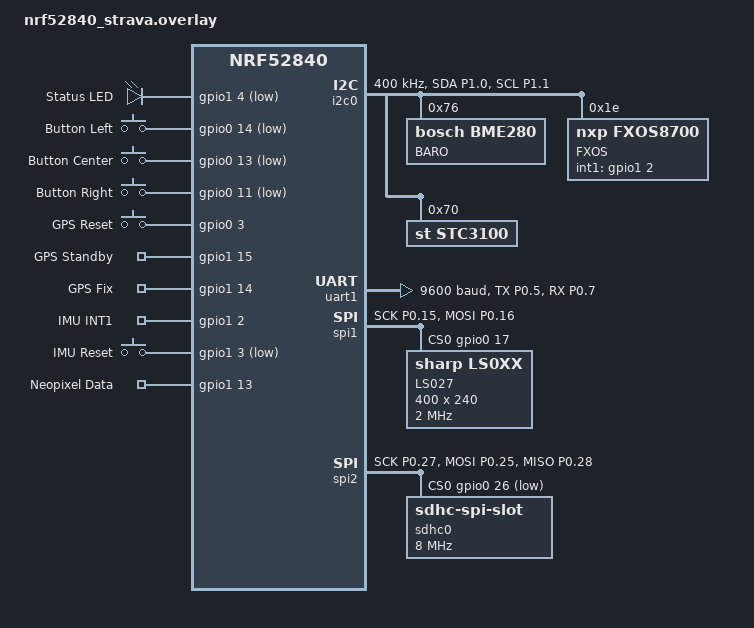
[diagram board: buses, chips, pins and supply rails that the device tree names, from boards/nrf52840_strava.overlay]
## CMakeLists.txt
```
# SPDX-License-Identifier: Apache-2.0
# stravaV10 - Zephyr Application
# Bike GPS Computer with Strava Segments

cmake_minimum_required(VERSION 3.20.0)

# Board configuration
set(BOARD nrf52840dk/nrf52840)
set(BOARD_ROOT ${CMAKE_CURRENT_SOURCE_DIR})
set(DTC_OVERLAY_FILE ${CMAKE_CURRENT_SOURCE_DIR}/boards/nrf52840_strava.overlay)

find_package(Zephyr REQUIRED HINTS $ENV{ZEPHYR_BASE})

project(stravaV10 VERSION 2.0.0 LANGUAGES C)

# Compile options following MISRA and 0.memory standards
target_compile_options(app PRIVATE
    -Wall
    -Wextra
    -Werror=implicit-function-declaration
    -Werror=return-type
    -Wno-unused-parameter
    -ffunction-sections
    -fdata-sections
)

# Include directories
target_include_directories(app PRIVATE
    ${CMAKE_CURRENT_SOURCE_DIR}/include
    ${CMAKE_CURRENT_SOURCE_DIR}/include/hal
    ${CMAKE_CURRENT_SOURCE_DIR}/include/drivers
    ${CMAKE_CURRENT_SOURCE_DIR}/include/model
    ${CMAKE_CURRENT_SOURCE_DIR}/include/rf
    ${CMAKE_CURRENT_SOURCE_DIR}/include/vue
    ${CMAKE_CURRENT_SOURCE_DIR}/include/utils
    ${CMAKE_CURRENT_SOURCE_DIR}/include/usb
)

# =============================================================================
# Source files organized by module
# =============================================================================

# Main entry point
target_sources(app PRIVATE
    src/main.c
)

# HAL Layer - Hardware Abstraction
target_sources(app PRIVATE
    src/hal/hal_gpio.c
    src/hal/hal_spi.c
    src/hal/hal_i2c.c
    src/hal/hal_uart.c
)

# Drivers - LCD
target_sources(app PRIVATE
    src/drivers/lcd/ls027.c
)

# Drivers - Sensors
target_sources(app PRIVATE
    src/drivers/sensors/baro.c
    src/drivers/sensors/fxos.c
    src/drivers/sensors/stc3100.c
)

# Drivers - GPS
target_sources(app PRIVATE
    src/drivers/gps/gps_mgmt.c
    src/drivers/gps/nmea_parser.c
    src/drivers/gps/gps_epo.c
)

# Drivers - NeoPixel
target_sources(app PRIVATE
    src/drivers/neopixel.c
)

# Model Layer - Business Logic
target_sources(app PRIVATE
    src/model/boucle.c
    src/model/attitude.c
    src/model/locator.c
    src/model/segment.c
    src/model/kalman.c
    src/model/kalman_altitude.c
    src/model/udmatrix.c
    src/model/vecteur.c
    src/model/liste_points.c
    src/model/power_zone.c
    src/model/suffer_score.c
    src/model/rr_zone.c
    src/model/user_settings.c
    src/model/crash_recovery.c
    src/model/parcours.c
    src/model/baro_drift.c
    src/model/loc_source.c
    src/model/sd_logger.c
    src/model/zwift.c
)

# RF Layer - Wireless Communication
target_sources(app PRIVATE
    src/rf/ble/ble_manager.c
    src/rf/ble/ble_nus.c
    src/rf/ble/ble_lns.c
    src/rf/ble_hrs_client.c
    src/rf/ble_bsc_client.c
    src/rf/ble_fec_client.c
    src/rf/ble_komoot_client.c
)

# Vue Layer - User Interface
target_sources(app PRIVATE
    src/vue/vue.c
    src/vue/vue_crs.c
    src/vue/vue_fec.c
    src/vue/menu.c
)

# Utils
target_sources(app PRIVATE
    src/utils/utils.c
    src/utils/ring_buffer.c
)

# USB
target_sources(app PRIVATE
    src/usb/usb_cdc.c
    src/usb/usb_msc.c
)
```

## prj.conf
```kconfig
# =============================================================================
# stravaV10 - Zephyr Project Configuration
# Bike GPS Computer with Strava Segments
# =============================================================================

# -----------------------------------------------------------------------------
# General Configuration
# -----------------------------------------------------------------------------
CONFIG_MAIN_STACK_SIZE=2048
CONFIG_SYSTEM_WORKQUEUE_STACK_SIZE=1024
CONFIG_HEAP_MEM_POOL_SIZE=16384
CONFIG_PICOLIBC=y
CONFIG_PICOLIBC_USE_MODULE=n
CONFIG_CBPRINTF_FP_SUPPORT=y
CONFIG_FPU=y

# -----------------------------------------------------------------------------
# Logging
# -----------------------------------------------------------------------------
CONFIG_LOG=y
CONFIG_LOG_MODE_DEFERRED=y
CONFIG_LOG_BUFFER_SIZE=2048
CONFIG_LOG_BACKEND_RTT=y
CONFIG_LOG_BACKEND_RTT_MODE_DROP=y
CONFIG_USE_SEGGER_RTT=y
CONFIG_SEGGER_RTT_BUFFER_SIZE_UP=1024

# -----------------------------------------------------------------------------
# GPIO
# -----------------------------------------------------------------------------
CONFIG_GPIO=y

# -----------------------------------------------------------------------------
# SPI - LCD LS027 and SD Card
# -----------------------------------------------------------------------------
CONFIG_SPI=y
CONFIG_SPI_NRFX=y

# -----------------------------------------------------------------------------
# I2C - Sensors (Barometer, Accelerometer, Fuel Gauge)
# -----------------------------------------------------------------------------
CONFIG_I2C=y
CONFIG_I2C_NRFX=y

# -----------------------------------------------------------------------------
# UART - GPS Module
# -----------------------------------------------------------------------------
CONFIG_SERIAL=y
CONFIG_UART_NRFX=y
CONFIG_UART_INTERRUPT_DRIVEN=y
CONFIG_UART_ASYNC_API=y

# -----------------------------------------------------------------------------
# Bluetooth Low Energy
# -----------------------------------------------------------------------------
CONFIG_BT=y
CONFIG_BT_PERIPHERAL=y
CONFIG_BT_CENTRAL=y
CONFIG_BT_DEVICE_NAME="stravaV10"
CONFIG_BT_DEVICE_APPEARANCE=1157
CONFIG_BT_MAX_CONN=4
CONFIG_BT_MAX_PAIRED=4

# BT Services
CONFIG_BT_NUS=n
CONFIG_BT_LBS=n
CONFIG_BT_DIS=y
CONFIG_BT_BAS=y

# BT GATT Client (for HRS, BSC, FEC sensors)
CONFIG_BT_GATT_CLIENT=y
CONFIG_BT_GATT_AUTO_DISCOVER_CCC=y

# BT Settings
CONFIG_BT_SETTINGS=y
CONFIG_FLASH=y
CONFIG_FLASH_PAGE_LAYOUT=y
CONFIG_FLASH_MAP=y
CONFIG_NVS=y
CONFIG_SETTINGS=y
CONFIG_SETTINGS_NVS=y

# -----------------------------------------------------------------------------
# Display
# -----------------------------------------------------------------------------
CONFIG_DISPLAY=y

# -----------------------------------------------------------------------------
# File System - SD Card
# -----------------------------------------------------------------------------
CONFIG_FILE_SYSTEM=y
CONFIG_FAT_FILESYSTEM_ELM=y
CONFIG_FS_FATFS_LFN=y
CONFIG_FS_FATFS_LFN_MODE_HEAP=y

# SD Card via SPI
CONFIG_DISK_ACCESS=y
CONFIG_DISK_DRIVER_SDMMC=y

# -----------------------------------------------------------------------------
# Threads and Synchronization
# -----------------------------------------------------------------------------
CONFIG_MULTITHREADING=y
CONFIG_NUM_PREEMPT_PRIORITIES=16
CONFIG_TIMESLICING=y
CONFIG_TIMESLICE_SIZE=10

# Thread Analyzer (debug)
CONFIG_THREAD_ANALYZER=n
CONFIG_THREAD_NAME=y

# -----------------------------------------------------------------------------
# Timers and Counters
# -----------------------------------------------------------------------------
CONFIG_COUNTER=y

# -----------------------------------------------------------------------------
# Watchdog
# -----------------------------------------------------------------------------
CONFIG_WATCHDOG=y
CONFIG_WDT_NRFX=y

# -----------------------------------------------------------------------------
# Power Management
# -----------------------------------------------------------------------------
CONFIG_PM=y
CONFIG_PM_DEVICE=y

# -----------------------------------------------------------------------------
# USB Device Stack - CDC ACM (Serial over USB)
# -----------------------------------------------------------------------------
CONFIG_USB_DEVICE_STACK=y
CONFIG_USB_DEVICE_PRODUCT="stravaV10"
CONFIG_USB_DEVICE_MANUFACTURER="Custom"
CONFIG_USB_DEVICE_VID=0x2FE3
CONFIG_USB_DEVICE_PID=0x0100
CONFIG_USB_DEVICE_INITIALIZE_AT_BOOT=n
CONFIG_USB_CDC_ACM=y
CONFIG_USB_CDC_ACM_RINGBUF_SIZE=1024
CONFIG_UART_LINE_CTRL=y
CONFIG_UART_INTERRUPT_DRIVEN=y

# -----------------------------------------------------------------------------
# Sensors Subsystem
# -----------------------------------------------------------------------------
CONFIG_SENSOR=y

# -----------------------------------------------------------------------------
# Math Library
# -----------------------------------------------------------------------------
CONFIG_CMSIS_DSP=n

# -----------------------------------------------------------------------------
# Debug Configuration
# -----------------------------------------------------------------------------
CONFIG_DEBUG=n
CONFIG_DEBUG_OPTIMIZATIONS=n
CONFIG_ASSERT=n

# Fault handling
CONFIG_FAULT_DUMP=1
CONFIG_RESET_ON_FATAL_ERROR=y

# -----------------------------------------------------------------------------
# Build Configuration
# -----------------------------------------------------------------------------
CONFIG_SIZE_OPTIMIZATIONS=y
CONFIG_SPEED_OPTIMIZATIONS=n
```

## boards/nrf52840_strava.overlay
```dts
/*
 * Device Tree Overlay for stravaV10 Custom Board
 * Based on nRF52840 - Bike GPS Computer
 *
 * Pin Mapping (from custom_board_v3.h):
 * - I2C: SDA=P1.00, SCL=P1.01
 * - UART (GPS): TX=P0.05, RX=P0.07
 * - SPI LCD: MOSI=P0.16, SCK=P0.15, CS=P0.17
 * - SPI SDC: MOSI=P0.25, SCK=P0.27, MISO=P0.28, CS=P0.26
 * - Buttons: B1=P0.14, B2=P0.13, B3=P0.11
 * - LED: P1.04
 * - GPS: RST=P0.03, STDBY=P1.15, FIX=P1.14
 * - IMU: INT1=P1.02, RST=P1.03
 * - Neopixel: P1.13
 */

/ {
    chosen {
        zephyr,display = &ls027;
    };

    aliases {
        led0 = &led0;
        sw0 = &button0;
        sw1 = &button1;
        sw2 = &button2;
        gps-uart = &uart1;
        lcd-spi = &spi1;
        sdc-spi = &spi2;
        sensor-i2c = &i2c0;
    };

    leds {
        compatible = "gpio-leds";
        led0: led_0 {
            gpios = <&gpio1 4 GPIO_ACTIVE_LOW>;
            label = "Status LED";
        };
    };

    buttons {
        compatible = "gpio-keys";
        button0: button_0 {
            gpios = <&gpio0 14 (GPIO_PULL_UP | GPIO_ACTIVE_LOW)>;
            label = "Button Left";
        };
        button1: button_1 {
            gpios = <&gpio0 13 (GPIO_PULL_UP | GPIO_ACTIVE_LOW)>;
            label = "Button Center";
        };
        button2: button_2 {
            gpios = <&gpio0 11 (GPIO_PULL_UP | GPIO_ACTIVE_LOW)>;
            label = "Button Right";
        };
    };

    /* GPS Control Pins */
    gps_ctrl {
        compatible = "gpio-keys";
        gps_reset: gps_reset {
            gpios = <&gpio0 3 GPIO_ACTIVE_HIGH>;
            label = "GPS Reset";
        };
        gps_stdby: gps_stdby {
            gpios = <&gpio1 15 GPIO_ACTIVE_HIGH>;
            label = "GPS Standby";
        };
        gps_fix: gps_fix {
            gpios = <&gpio1 14 (GPIO_PULL_DOWN | GPIO_ACTIVE_HIGH)>;
            label = "GPS Fix";
        };
    };

    /* IMU Control Pins */
    imu_ctrl {
        compatible = "gpio-keys";
        imu_int1: imu_int1 {
            gpios = <&gpio1 2 (GPIO_PULL_DOWN | GPIO_ACTIVE_HIGH)>;
            label = "IMU INT1";
        };
        imu_reset: imu_reset {
            gpios = <&gpio1 3 GPIO_ACTIVE_LOW>;
            label = "IMU Reset";
        };
    };

    /* Neopixel */
    neopixel_pin {
        compatible = "gpio-keys";
        neo_data: neo_data {
            gpios = <&gpio1 13 GPIO_ACTIVE_HIGH>;
            label = "Neopixel Data";
        };
    };
};

/* Disable I2C1 (conflicts with SPI1) */
&i2c1 {
    status = "disabled";
};

/* I2C0 - Sensors (Barometer, IMU, Fuel Gauge) */
&i2c0 {
    compatible = "nordic,nrf-twi";
    status = "okay";
    pinctrl-0 = <&i2c0_default>;
    pinctrl-1 = <&i2c0_sleep>;
    pinctrl-names = "default", "sleep";
    clock-frequency = <I2C_BITRATE_FAST>;

    /* BMP280/BME280 Barometer */
    baro: bmp280@76 {
        compatible = "bosch,bme280";
        reg = <0x76>;
        label = "BARO";
    };

    /* FXOS8700 Accelerometer/Magnetometer */
    fxos: fxos8700@1e {
        compatible = "nxp,fxos8700";
        reg = <0x1e>;
        label = "FXOS";
        int1-gpios = <&gpio1 2 GPIO_ACTIVE_HIGH>;
    };

    /* STC3100 Fuel Gauge */
    stc3100: stc3100@70 {
        compatible = "st,stc3100";
        reg = <0x70>;
        label = "STC3100";
    };
};

/* UART1 - GPS Module */
&uart1 {
    compatible = "nordic,nrf-uarte";
    status = "okay";
    current-speed = <9600>;
    pinctrl-0 = <&uart1_default>;
    pinctrl-1 = <&uart1_sleep>;
    pinctrl-names = "default", "sleep";
};

/* SPI1 - LCD LS027 */
&spi1 {
    compatible = "nordic,nrf-spim";
    status = "okay";
    pinctrl-0 = <&spi1_default>;
    pinctrl-1 = <&spi1_sleep>;
    pinctrl-names = "default", "sleep";
    cs-gpios = <&gpio0 17 GPIO_ACTIVE_HIGH>;

    ls027: ls027b4dh01@0 {
        compatible = "sharp,ls0xx";
        reg = <0>;
        spi-max-frequency = <2000000>;
        label = "LS027";
        width = <400>;
        height = <240>;
    };
};

/* SPI2 - SD Card */
&spi2 {
    compatible = "nordic,nrf-spim";
    status = "okay";
    pinctrl-0 = <&spi2_default>;
    pinctrl-1 = <&spi2_sleep>;
    pinctrl-names = "default", "sleep";
    cs-gpios = <&gpio0 26 GPIO_ACTIVE_LOW>;

    sdhc0: sdhc@0 {
        compatible = "zephyr,sdhc-spi-slot";
        reg = <0>;
        spi-max-frequency = <8000000>;
        mmc {
            compatible = "zephyr,sdmmc-disk";
            status = "okay";
            disk-name = "SD";
        };
    };
};

/* Pin Control */
&pinctrl {
    i2c0_default: i2c0_default {
        group1 {
            psels = <NRF_PSEL(TWIM_SDA, 1, 0)>,
                    <NRF_PSEL(TWIM_SCL, 1, 1)>;
        };
    };

    i2c0_sleep: i2c0_sleep {
        group1 {
            psels = <NRF_PSEL(TWIM_SDA, 1, 0)>,
                    <NRF_PSEL(TWIM_SCL, 1, 1)>;
            low-power-enable;
        };
    };

    uart1_default: uart1_default {
        group1 {
            psels = <NRF_PSEL(UART_TX, 0, 5)>;
        };
        group2 {
            psels = <NRF_PSEL(UART_RX, 0, 7)>;
            bias-pull-up;
        };
    };

    uart1_sleep: uart1_sleep {
        group1 {
            psels = <NRF_PSEL(UART_TX, 0, 5)>,
                    <NRF_PSEL(UART_RX, 0, 7)>;
            low-power-enable;
        };
    };

    spi1_default: spi1_default {
        group1 {
            psels = <NRF_PSEL(SPIM_SCK, 0, 15)>,
                    <NRF_PSEL(SPIM_MOSI, 0, 16)>;
        };
    };

    spi1_sleep: spi1_sleep {
        group1 {
            psels = <NRF_PSEL(SPIM_SCK, 0, 15)>,
                    <NRF_PSEL(SPIM_MOSI, 0, 16)>;
            low-power-enable;
        };
    };

    spi2_default: spi2_default {
        group1 {
            psels = <NRF_PSEL(SPIM_SCK, 0, 27)>,
                    <NRF_PSEL(SPIM_MOSI, 0, 25)>,
                    <NRF_PSEL(SPIM_MISO, 0, 28)>;
        };
    };

    spi2_sleep: spi2_sleep {
        group1 {
            psels = <NRF_PSEL(SPIM_SCK, 0, 27)>,
                    <NRF_PSEL(SPIM_MOSI, 0, 25)>,
                    <NRF_PSEL(SPIM_MISO, 0, 28)>;
            low-power-enable;
        };
    };
};
```

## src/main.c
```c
/**
 * @file main.c
 * @brief stravaV10 - Bike GPS Computer with Strava Segments
 *
 * Main entry point for the Zephyr RTOS based firmware.
 * Follows MISRA C:2012 guidelines.
 */

#include <zephyr/kernel.h>
#include <zephyr/device.h>
#include <zephyr/drivers/gpio.h>
#include <zephyr/logging/log.h>
#include <zephyr/sys/reboot.h>

#include "app_types.h"
#include "hal/hal_gpio.h"
#include "hal/hal_spi.h"
#include "hal/hal_i2c.h"
#include "hal/hal_uart.h"
#include "drivers/ls027.h"
#include "drivers/baro.h"
#include "drivers/fxos.h"
#include "drivers/stc3100.h"
#include "drivers/gps_mgmt.h"
#include "model/boucle.h"
#include "model/segment.h"
#include "rf/ble_manager.h"
#include "vue/vue.h"

LOG_MODULE_REGISTER(main, CONFIG_LOG_DEFAULT_LEVEL);

/* ==========================================================================
 * Private Definitions
 * ========================================================================== */

/** Main loop interval in milliseconds */
#define MAIN_LOOP_INTERVAL_MS       100U

/** Display update interval in milliseconds */
#define DISPLAY_UPDATE_INTERVAL_MS  250U

/** Sensor update interval in milliseconds */
#define SENSOR_UPDATE_INTERVAL_MS   1000U

/** VCOM toggle interval in milliseconds */
#define VCOM_TOGGLE_INTERVAL_MS     1000U

/** Button polling interval in milliseconds */
#define BUTTON_POLL_INTERVAL_MS     20U

/** Watchdog timeout in milliseconds */
#define WDT_TIMEOUT_MS              10000U

/* ==========================================================================
 * Thread Definitions
 * ========================================================================== */

#define MAIN_STACK_SIZE     2048U
#define MAIN_PRIORITY       5

#define DISPLAY_STACK_SIZE  1024U
#define DISPLAY_PRIORITY    7

#define SENSOR_STACK_SIZE   1024U
#define SENSOR_PRIORITY     6

K_THREAD_STACK_DEFINE(main_stack, MAIN_STACK_SIZE);
K_THREAD_STACK_DEFINE(display_stack, DISPLAY_STACK_SIZE);
K_THREAD_STACK_DEFINE(sensor_stack, SENSOR_STACK_SIZE);

static struct k_thread main_thread_data;
static struct k_thread display_thread_data;
static struct k_thread sensor_thread_data;

/* ==========================================================================
 * Private Variables
 * ========================================================================== */

/** System initialized flag */
static volatile bool system_initialized;

/** Last display update time */
static uint32_t last_display_update;

/** Last sensor update time */
static uint32_t last_sensor_update;

/** Last VCOM toggle time */
static uint32_t last_vcom_toggle;

/* ==========================================================================
 * Private Functions
 * ========================================================================== */

/**
 * @brief Initialize all hardware
 */
static app_err_t init_hardware(void)
{
    app_err_t err;

    LOG_INF("Initializing hardware...");

    /* GPIO */
    err = hal_gpio_init();
    if (err != APP_OK) {
        LOG_ERR("GPIO init failed: %d", err);
        return err;
    }

    /* I2C */
    err = hal_i2c_init();
    if (err != APP_OK) {
        LOG_ERR("I2C init failed: %d", err);
        return err;
    }

    /* SPI */
    err = hal_spi_init();
    if (err != APP_OK) {
        LOG_ERR("SPI init failed: %d", err);
        return err;
    }

    /* UART */
    err = hal_uart_init();
    if (err != APP_OK) {
        LOG_ERR("UART init failed: %d", err);
        return err;
    }

    LOG_INF("Hardware initialized");
    return APP_OK;
}

/**
 * @brief Initialize all drivers
 */
static app_err_t init_drivers(void)
{
    app_err_t err;

    LOG_INF("Initializing drivers...");

    /* LCD */
    err = ls027_init();
    if (err != APP_OK) {
        LOG_ERR("LCD init failed: %d", err);
        /* Continue anyway - display might recover */
    }

    /* Barometer */
    err = baro_init();
    if (err != APP_OK) {
        LOG_WRN("Barometer init failed: %d", err);
    }

    /* IMU */
    err = fxos_init();
    if (err != APP_OK) {
        LOG_WRN("IMU init failed: %d", err);
    }

    /* Fuel Gauge */
    battery_config_t batt_cfg = {
        .rsense = 100U,
        .capacity_mah = 1500U,
        .voltage_min = 3300U,
        .voltage_max = 4200U,
    };
    err = stc3100_init(&batt_cfg);
    if (err != APP_OK) {
        LOG_WRN("Fuel gauge init failed: %d", err);
    }

    /* GPS */
    err = gps_mgmt_init();
    if (err != APP_OK) {
        LOG_ERR("GPS init failed: %d", err);
        return err;
    }

    LOG_INF("Drivers initialized");
    return APP_OK;
}

/**
 * @brief Initialize application modules
 */
static app_err_t init_application(void)
{
    app_err_t err;

    LOG_INF("Initializing application...");

    /* BLE Manager */
    err = ble_manager_init();
    if (err != APP_OK) {
        LOG_ERR("BLE init failed: %d", err);
        return err;
    }

    /* Main loop controller */
    err = boucle_init();
    if (err != APP_OK) {
        LOG_ERR("Boucle init failed: %d", err);
        return err;
    }

    /* Display/View system */
    err = vue_init();
    if (err != APP_OK) {
        LOG_ERR("Vue init failed: %d", err);
        return err;
    }

    LOG_INF("Application initialized");
    return APP_OK;
}

/**
 * @brief Button callback handler
 */
static void button_callback(btn_event_t event)
{
    LOG_DBG("Button event: %d", event);

    /* Pass to view system */
    vue_handle_button(event);

    /* Pass to main loop controller */
    boucle_handle_button(event);
}

/**
 * @brief Display update thread
 */
static void display_thread(void *p1, void *p2, void *p3)
{
    (void)p1;
    (void)p2;
    (void)p3;

    LOG_INF("Display thread started");

    while (true) {
        uint32_t now = k_uptime_get_32();

        /* Update display */
        if ((now - last_display_update) >= DISPLAY_UPDATE_INTERVAL_MS) {
            vue_update();
            last_display_update = now;
        }

        /* Toggle VCOM */
        if ((now - last_vcom_toggle) >= VCOM_TOGGLE_INTERVAL_MS) {
            ls027_toggle_vcom();
            last_vcom_toggle = now;
        }

        k_msleep(50);
    }
}

/**
 * @brief Sensor polling thread
 */
static void sensor_thread(void *p1, void *p2, void *p3)
{
    (void)p1;
    (void)p2;
    (void)p3;

    LOG_INF("Sensor thread started");

    while (true) {
        uint32_t now = k_uptime_get_32();

        /* Poll sensors */
        if ((now - last_sensor_update) >= SENSOR_UPDATE_INTERVAL_MS) {
            /* Barometer */
            (void)baro_trigger();

            /* IMU */
            (void)fxos_trigger();

            /* Battery */
            (void)stc3100_trigger();

            /* Update BLE battery level */
            ble_manager_update_battery(stc3100_get_soc());

            last_sensor_update = now;
        }

        k_msleep(100);
    }
}

/**
 * @brief Main application thread
 */
static void main_thread(void *p1, void *p2, void *p3)
{
    (void)p1;
    (void)p2;
    (void)p3;

    LOG_INF("Main thread started");

    /* Wait for system initialization */
    while (!system_initialized) {
        k_msleep(10);
    }

    /* Start GPS */
    (void)gps_mgmt_start();

    /* Start BLE advertising */
    (void)ble_manager_start_advertising();

    /* Load segments from SD card */
    int seg_count = segment_load_all();
    LOG_INF("Loaded %d segments", seg_count);

    /* Set initial mode */
    (void)boucle_set_mode(APP_MODE_CRS);

    /* Main processing loop */
    while (true) {
        /* Process button events */
        hal_gpio_btn_process();

        /* Process GPS data */
        gps_mgmt_process();

        /* Process main loop */
        boucle_process();

        /* Toggle LED to show we're alive */
        static uint32_t led_toggle_time;
        if ((k_uptime_get_32() - led_toggle_time) >= 1000U) {
            hal_gpio_led_toggle();
            led_toggle_time = k_uptime_get_32();
        }

        k_msleep(MAIN_LOOP_INTERVAL_MS);
    }
}

/* ==========================================================================
 * Main Entry Point
 * ========================================================================== */

int main(void)
{
    LOG_INF("=====================================");
    LOG_INF("stravaV10 - Bike GPS Computer");
    LOG_INF("Version %d.%d.%d",
            APP_VERSION_MAJOR, APP_VERSION_MINOR, APP_VERSION_PATCH);
    LOG_INF("=====================================");

    /* Initialize hardware */
    app_err_t err = init_hardware();
    if (err != APP_OK) {
        LOG_ERR("Hardware initialization failed!");
        return -1;
    }

    /* Initialize drivers */
    err = init_drivers();
    if (err != APP_OK) {
        LOG_ERR("Driver initialization failed!");
        return -1;
    }

    /* Initialize application */
    err = init_application();
    if (err != APP_OK) {
        LOG_ERR("Application initialization failed!");
        return -1;
    }

    /* Register button callback */
    err = hal_gpio_register_btn_callback(button_callback);
    if (err != APP_OK) {
        LOG_WRN("Button callback registration failed");
    }

    /* Mark system as initialized */
    system_initialized = true;
    LOG_INF("System initialization complete");

    /* Create worker threads */
    k_thread_create(&main_thread_data, main_stack, MAIN_STACK_SIZE,
                    main_thread, NULL, NULL, NULL,
                    MAIN_PRIORITY, 0, K_NO_WAIT);
    k_thread_name_set(&main_thread_data, "main_loop");

    k_thread_create(&display_thread_data, display_stack, DISPLAY_STACK_SIZE,
                    display_thread, NULL, NULL, NULL,
                    DISPLAY_PRIORITY, 0, K_NO_WAIT);
    k_thread_name_set(&display_thread_data, "display");

    k_thread_create(&sensor_thread_data, sensor_stack, SENSOR_STACK_SIZE,
                    sensor_thread, NULL, NULL, NULL,
                    SENSOR_PRIORITY, 0, K_NO_WAIT);
    k_thread_name_set(&sensor_thread_data, "sensor");

    LOG_INF("All threads started");

    /* Main function returns, threads continue running */
    return 0;
}
```

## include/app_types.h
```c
/**
 * @file app_types.h
 * @brief Common types and definitions for stravaV10 application
 *
 * This file contains all common type definitions, constants, and macros
 * used throughout the application. Follows MISRA C:2012 guidelines.
 */

#ifndef APP_TYPES_H
#define APP_TYPES_H

#include <stdint.h>
#include <stdbool.h>
#include <stddef.h>

#ifdef __cplusplus
extern "C" {
#endif

/* ==========================================================================
 * Version Information
 * ========================================================================== */

#define APP_VERSION_MAJOR    2U
#define APP_VERSION_MINOR    0U
#define APP_VERSION_PATCH    0U

/* ==========================================================================
 * Common Constants
 * ========================================================================== */

#define APP_NAME             "stravaV10"
#define APP_NAME_LEN         9U

/** Maximum number of segments that can be stored */
#define MAX_SEGMENTS         50U

/** Maximum number of points in history */
#define MAX_HISTORY_POINTS   50U

/** Maximum number of parcours (routes) */
#define MAX_PARCOURS         10U

/** GPS history size for position calculations */
#define HISTO_POINT_SIZE     15U

/** Attitude buffer size for logging */
#define ATT_BUFFER_NB_ELEM   20U

/* ==========================================================================
 * Error Codes
 * ========================================================================== */

typedef enum {
    APP_OK = 0,
    APP_ERR_INVALID_PARAM = -1,
    APP_ERR_NO_MEM = -2,
    APP_ERR_TIMEOUT = -3,
    APP_ERR_BUSY = -4,
    APP_ERR_NOT_INIT = -5,
    APP_ERR_ALREADY_INIT = -6,
    APP_ERR_NOT_FOUND = -7,
    APP_ERR_IO = -8,
    APP_ERR_OVERFLOW = -9,
    APP_ERR_CHECKSUM = -10,
    APP_ERR_INTERNAL = -99
} app_err_t;

/* ==========================================================================
 * Location Types
 * ========================================================================== */

/** Location source enumeration */
typedef enum {
    LOC_SOURCE_NONE = 0,
    LOC_SOURCE_GPS,
    LOC_SOURCE_BLE_LNS,
    LOC_SOURCE_SIM
} loc_source_t;

/** Location data structure */
typedef struct {
    float lat;          /**< Latitude in degrees */
    float lon;          /**< Longitude in degrees */
    float alt;          /**< Altitude in meters */
    float speed;        /**< Speed in km/h */
    float course;       /**< Course in degrees */
    uint32_t timestamp; /**< Timestamp in milliseconds */
} loc_data_t;

/** Date/Time structure */
typedef struct {
    uint32_t date;      /**< Date as DDMMYY */
    uint32_t secj;      /**< Seconds of day */
    uint32_t timestamp; /**< System timestamp when received */
} date_data_t;

/* ==========================================================================
 * Attitude Types
 * ========================================================================== */

/** Main attitude structure - holds current state */
typedef struct {
    loc_data_t loc;         /**< Current location */
    date_data_t date;       /**< Current date/time */
    float dist;             /**< Total distance in meters */
    float climb;            /**< Total climb in meters */
    float vit_asc;          /**< Vertical speed in m/s */
    int8_t slope;           /**< Current slope in percent */
    uint16_t pwr;           /**< Estimated power in watts */
    uint16_t next;          /**< Distance to next segment in meters */
    uint16_t nbpts;         /**< Number of GPS points received */
    uint16_t nbsec_act;     /**< Active seconds (speed > threshold) */
    uint8_t nbact;          /**< Number of active segments */
    uint8_t pr;             /**< Personal record indicator */
} attitude_t;

/* ==========================================================================
 * Segment Types
 * ========================================================================== */

/** Segment status enumeration */
typedef enum {
    SEG_OFF = 0,        /**< Segment inactive */
    SEG_START = 1,      /**< Segment just activated */
    SEG_ON = 2,         /**< Segment active */
    SEG_FIN = -5        /**< Segment finished (countdown to removal) */
} seg_status_t;

/** Segment data structure */
typedef struct {
    char name[13];          /**< Segment name (8.3 format) */
    uint16_t num_points;    /**< Number of points in segment */
    float total_time;       /**< Reference time in seconds */
    float total_elev;       /**< Total elevation gain */
    float cur_time;         /**< Current time on segment */
    float advance;          /**< Time advantage (+) or behind (-) */
    float pct_dist;         /**< Progress percentage (0-1) */
    float pct_elev;         /**< Elevation progress percentage */
    seg_status_t status;    /**< Current status */
    int8_t score;           /**< Display priority score */
} segment_t;

/* ==========================================================================
 * Sensor Types
 * ========================================================================== */

/** Heart Rate Monitor info */
typedef struct {
    uint8_t bpm;            /**< Beats per minute */
    uint16_t rr_interval;   /**< R-R interval in ms */
    uint32_t timestamp;     /**< Last update timestamp */
    bool connected;         /**< Connection status */
} hrm_info_t;

/** Bike Speed/Cadence info */
typedef struct {
    uint16_t speed;         /**< Speed in 0.01 km/h */
    uint8_t cadence;        /**< Cadence in RPM */
    uint32_t timestamp;     /**< Last update timestamp */
    bool connected;         /**< Connection status */
} bsc_info_t;

/** FE-C (Smart Trainer) info */
typedef struct {
    uint16_t power;         /**< Instantaneous power in watts */
    uint16_t el_time;       /**< Elapsed time in seconds */
    uint8_t cadence;        /**< Cadence in RPM */
    int8_t grade;           /**< Current grade in percent */
    bool connected;         /**< Connection status */
} fec_info_t;

/* ==========================================================================
 * Button/Input Types
 * ========================================================================== */

/** Button event enumeration */
typedef enum {
    BTN_EVENT_NONE = 0,
    BTN_EVENT_LEFT,
    BTN_EVENT_CENTER,
    BTN_EVENT_RIGHT,
    BTN_EVENT_LONG_LEFT,
    BTN_EVENT_LONG_CENTER,
    BTN_EVENT_LONG_RIGHT
} btn_event_t;

/* ==========================================================================
 * Display/Vue Types
 * ========================================================================== */

/** Display mode enumeration */
typedef enum {
    VUE_MODE_CRS = 0,       /**< Outdoor cycling mode */
    VUE_MODE_FEC,           /**< Indoor trainer mode */
    VUE_MODE_PRC,           /**< Parcours (route) mode */
    VUE_MODE_DEBUG,         /**< Debug information mode */
    VUE_MODE_MENU           /**< Menu mode */
} vue_mode_t;

/** Notification type */
typedef enum {
    NOTIF_TYPE_INFO = 0,
    NOTIF_TYPE_WARNING,
    NOTIF_TYPE_ERROR,
    NOTIF_TYPE_SUCCESS
} notif_type_t;

/** Notification structure */
typedef struct {
    char title[16];         /**< Notification title */
    char message[64];       /**< Notification message */
    uint8_t duration;       /**< Duration in seconds */
    notif_type_t type;      /**< Notification type */
} notification_t;

/* ==========================================================================
 * Global Mode Types
 * ========================================================================== */

/** Application mode enumeration */
typedef enum {
    APP_MODE_INIT = 0,
    APP_MODE_CRS,           /**< Outdoor cycling */
    APP_MODE_FEC,           /**< Indoor trainer */
    APP_MODE_PRC,           /**< Following a parcours */
    APP_MODE_ZWIFT,         /**< Zwift simulation mode */
    APP_MODE_MSC            /**< USB Mass Storage mode */
} app_mode_t;

/* ==========================================================================
 * Utility Macros
 * Note: These are guarded to avoid conflicts with Zephyr's util.h
 * ========================================================================== */

#ifndef MIN
/** Get minimum of two values */
#define MIN(a, b)           (((a) < (b)) ? (a) : (b))
#endif

#ifndef MAX
/** Get maximum of two values */
#define MAX(a, b)           (((a) > (b)) ? (a) : (b))
#endif

#ifndef CLAMP
/** Clamp value between min and max */
#define CLAMP(val, min, max) (MIN(MAX((val), (min)), (max)))
#endif

#ifndef ARRAY_SIZE
/** Get array element count */
#define ARRAY_SIZE(arr)     (sizeof(arr) / sizeof((arr)[0]))
#endif

#ifndef IN_RANGE
/** Check if value is within range [min, max] */
#define IN_RANGE(val, min, max) (((val) >= (min)) && ((val) <= (max)))
#endif

/** Convert km/h to m/s */
#define KMH_TO_MS(x)        ((x) / 3.6f)

/** Convert m/s to km/h */
#define MS_TO_KMH(x)        ((x) * 3.6f)

/** Degrees to radians */
#define DEG_TO_RAD(x)       ((x) * 0.017453292519943295f)

/** Radians to degrees */
#define RAD_TO_DEG(x)       ((x) * 57.29577951308232f)

#ifdef __cplusplus
}
#endif

#endif /* APP_TYPES_H */
```
